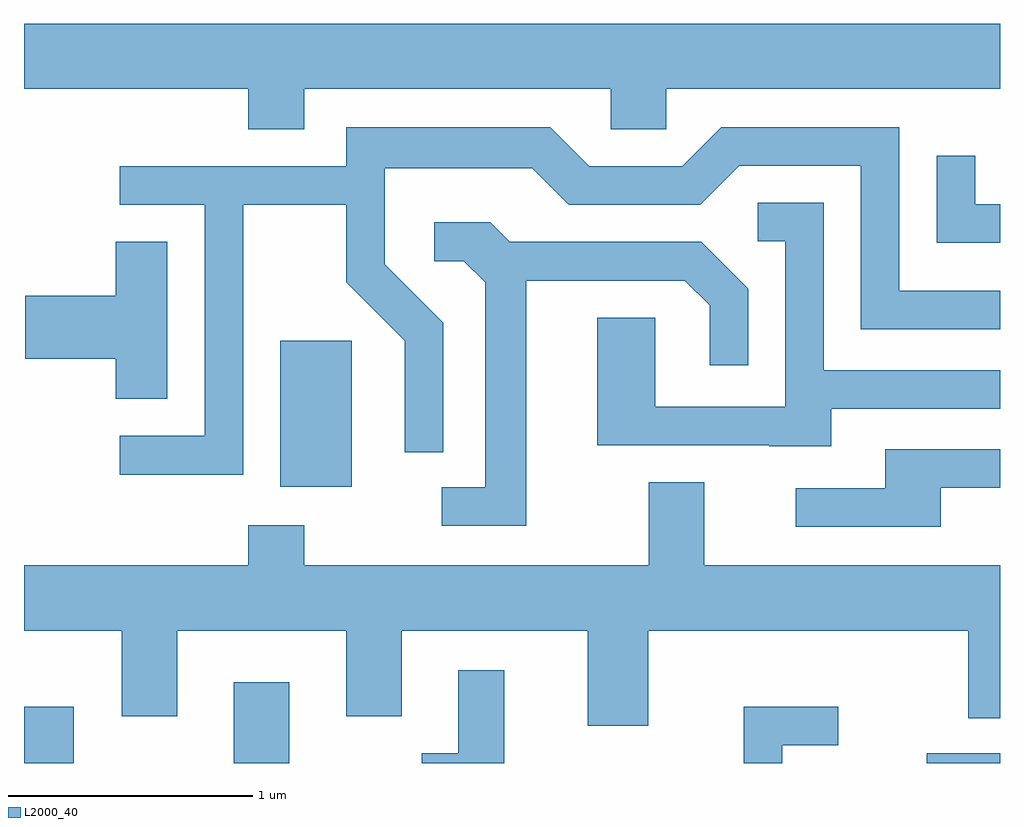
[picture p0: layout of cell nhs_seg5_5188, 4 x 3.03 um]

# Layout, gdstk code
import gdstk
lib = gdstk.Library(unit=1e-6, precision=1e-09)
def R(c, l, rs):  # rectangles x0, y0, x1, y1
    for r in rs: c.add(gdstk.rectangle(r[:2], r[2:], *l))
def P(c, l, *ps):  # polygons
    for p in ps: c.add(gdstk.Polygon(p, *l))
L2000_40 = (2000, 40)

nhs_seg5_5188 = lib.new_cell('nhs_seg5_5188')
R(nhs_seg5_5188, L2000_40, [(339.611,1414.072,339.814,1414.304), (340.471,1414.072,340.699,1414.404), (343.311,1414.072,343.611,1414.114), (340.661,1415.206,340.954,1415.804)])
P(nhs_seg5_5188, L2000_40, [(340.759,1416.836),(342.016,1416.836),(342.016,1416.671),(342.244,1416.671),(342.244,1416.836),(343.611,1416.836),(343.611,1417.104),(339.611,1417.104),(339.611,1416.836),(340.531,1416.836),(340.531,1416.671),(340.759,1416.671)],
  [(340.509,1416.361),(340.931,1416.361),(340.931,1416.044),(341.171,1415.804),(341.171,1415.348),(341.329,1415.348),(341.329,1415.877),(341.089,1416.117),(341.089,1416.511),(341.694,1416.511),(341.844,1416.361),(342.382,1416.361),(342.542,1416.521),(343.041,1416.521),(343.041,1415.851),(343.611,1415.851),(343.611,1416.009),(343.199,1416.009),(343.199,1416.679),(342.469,1416.679),(342.309,1416.519),(341.927,1416.519),(341.767,1416.679),(340.931,1416.679),(340.931,1416.519),(340.003,1416.519),(340.003,1416.361),(340.351,1416.361),(340.351,1415.414),(340.003,1415.414),(340.003,1415.256),(340.509,1415.256)],
  [(343.611,1416.364),(343.509,1416.364),(343.509,1416.563),(343.351,1416.563),(343.351,1416.206),(343.611,1416.206)],
  [(342.919,1415.526),(343.611,1415.526),(343.611,1415.684),(342.889,1415.684),(342.889,1416.369),(342.618,1416.369),(342.618,1416.211),(342.731,1416.211),(342.731,1415.534),(342.199,1415.534),(342.199,1415.899),(341.961,1415.899),(341.961,1415.376),(342.665,1415.376),(342.665,1415.371),(342.919,1415.371)],
  [(341.669,1416.051),(342.319,1416.051),(342.421,1415.949),(342.421,1415.703),(342.579,1415.703),(342.579,1416.017),(342.387,1416.209),(341.602,1416.209),(341.522,1416.289),(341.293,1416.289),(341.293,1416.131),(341.414,1416.131),(341.501,1416.044),(341.501,1415.204),(341.323,1415.204),(341.323,1415.046),(341.669,1415.046)],
  [(340.199,1416.209),(339.986,1416.209),(339.986,1415.989),(339.616,1415.989),(339.616,1415.731),(339.986,1415.731),(339.986,1415.566),(340.199,1415.566)],
  [(343.369,1415.201),(343.611,1415.201),(343.611,1415.359),(343.141,1415.359),(343.141,1415.199),(342.773,1415.199),(342.773,1415.041),(343.369,1415.041)],
  [(342.169,1414.616),(343.481,1414.616),(343.481,1414.258),(343.611,1414.258),(343.611,1414.884),(342.399,1414.884),(342.399,1415.224),(342.171,1415.224),(342.171,1414.884),(340.759,1414.884),(340.759,1415.049),(340.531,1415.049),(340.531,1414.884),(339.611,1414.884),(339.611,1414.616),(340.011,1414.616),(340.011,1414.266),(340.239,1414.266),(340.239,1414.616),(340.931,1414.616),(340.931,1414.266),(341.159,1414.266),(341.159,1414.616),(341.921,1414.616),(341.921,1414.226),(342.169,1414.226)],
  [(341.579,1414.454),(341.391,1414.454),(341.391,1414.114),(341.241,1414.114),(341.241,1414.072),(341.579,1414.072)],
  [(342.719,1414.146),(342.948,1414.146),(342.948,1414.304),(342.561,1414.304),(342.561,1414.072),(342.719,1414.072)])

lib.write_gds('nhs_seg5_5188.gds')
